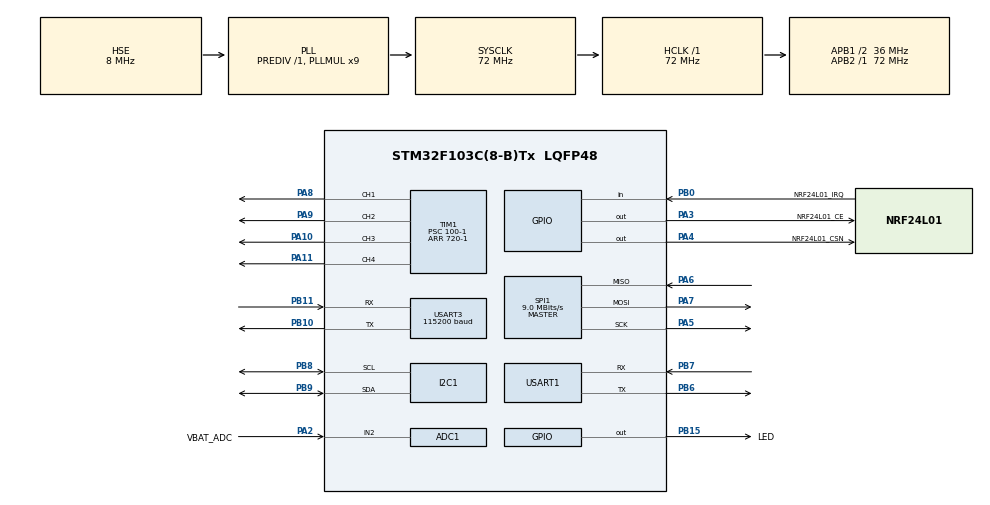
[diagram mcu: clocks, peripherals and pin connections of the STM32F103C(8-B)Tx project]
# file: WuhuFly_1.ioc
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ADC1.Channel-0\#ChannelRegularConversion=ADC_CHANNEL_2
ADC1.NbrOfConversionFlag=1
ADC1.Rank-0\#ChannelRegularConversion=1
ADC1.SamplingTime-0\#ChannelRegularConversion=ADC_SAMPLETIME_239CYCLES_5
ADC1.master=1
FREERTOS.HEAP_NUMBER=3
FREERTOS.Tasks01=MainTask,8,512,StartMainTask,Default,NULL,Dynamic,NULL,NULL;IMUTask,24,256,StartIMUTask,Default,NULL,Dynamic,NULL,NULL;CommunicateTask,24,256,StartCommunicateTask,Default,NULL,Dynamic,NULL,NULL
FREERTOS.configTOTAL_HEAP_SIZE=5120
Mcu.Family=STM32F1
Mcu.Name=STM32F103C(8-B)Tx
Mcu.Package=LQFP48
NVIC.PriorityGroup=NVIC_PRIORITYGROUP_4
NVIC.TIM4_IRQn=true\:0\:0\:false\:false\:true\:false\:false\:true
NVIC.TimeBase=TIM4_IRQn
NVIC.TimeBaseIP=TIM4
NVIC.USART3_IRQn=true\:5\:0\:false\:false\:true\:true\:true\:true
PA10.Signal=S_TIM1_CH3
PA11.Signal=S_TIM1_CH4
PA13.Mode=Serial_Wire
PA13.Signal=SYS_JTMS-SWDIO
PA14.Mode=Serial_Wire
PA14.Signal=SYS_JTCK-SWCLK
PA2.GPIO_Label=VBAT_ADC
PA2.Signal=ADCx_IN2
PA3.GPIO_Label=NRF24L01_CE
PA3.GPIO_PuPd=GPIO_PULLUP
PA3.GPIO_Speed=GPIO_SPEED_FREQ_HIGH
PA3.Signal=GPIO_Output
PA4.GPIO_Label=NRF24L01_CSN
PA4.GPIO_PuPd=GPIO_PULLUP
PA4.GPIO_Speed=GPIO_SPEED_FREQ_HIGH
PA4.PinState=GPIO_PIN_SET
PA4.Signal=GPIO_Output
PA5.Mode=Full_Duplex_Master
PA5.Signal=SPI1_SCK
PA6.Mode=Full_Duplex_Master
PA6.Signal=SPI1_MISO
PA7.Mode=Full_Duplex_Master
PA7.Signal=SPI1_MOSI
PA8.Signal=S_TIM1_CH1
PA9.Signal=S_TIM1_CH2
PB0.GPIO_Label=NRF24L01_IRQ
PB0.GPIO_PuPd=GPIO_PULLUP
PB0.Signal=GPIO_Input
PB10.Mode=Asynchronous
PB10.Signal=USART3_TX
PB11.Mode=Asynchronous
PB11.Signal=USART3_RX
PB15.GPIO_Label=LED
PB15.Signal=GPIO_Output
PB6.Mode=Asynchronous
PB6.Signal=USART1_TX
PB7.Mode=Asynchronous
PB7.Signal=USART1_RX
PB8.Mode=I2C
PB8.Signal=I2C1_SCL
PB9.Mode=I2C
PB9.Signal=I2C1_SDA
PD0-OSC_IN.Mode=HSE-External-Oscillator
PD0-OSC_IN.Signal=RCC_OSC_IN
PD1-OSC_OUT.Mode=HSE-External-Oscillator
PD1-OSC_OUT.Signal=RCC_OSC_OUT
ProjectManager.HeapSize=0x200
ProjectManager.StackSize=0x400
ProjectManager.TargetToolchain=SW4STM32
RCC.ADCPresc=RCC_ADCPCLK2_DIV6
RCC.AHBFreq_Value=72000000
RCC.APB1CLKDivider=RCC_HCLK_DIV2
RCC.APB1Freq_Value=36000000
RCC.APB1TimFreq_Value=72000000
RCC.APB2Freq_Value=72000000
RCC.APB2TimFreq_Value=72000000
RCC.HCLKFreq_Value=72000000
RCC.PLLMUL=RCC_PLL_MUL9
RCC.PLLSourceVirtual=RCC_PLLSOURCE_HSE
RCC.SYSCLKFreq_VALUE=72000000
RCC.SYSCLKSource=RCC_SYSCLKSOURCE_PLLCLK
RCC.USBFreq_Value=72000000
SH.ADCx_IN2.0=ADC1_IN2,IN2
SH.S_TIM1_CH1.0=TIM1_CH1,PWM Generation1 CH1
SH.S_TIM1_CH2.0=TIM1_CH2,PWM Generation2 CH2
SH.S_TIM1_CH3.0=TIM1_CH3,PWM Generation3 CH3
SH.S_TIM1_CH4.0=TIM1_CH4,PWM Generation4 CH4
SPI1.BaudRatePrescaler=SPI_BAUDRATEPRESCALER_8
SPI1.CLKPhase=SPI_PHASE_1EDGE
SPI1.CLKPolarity=SPI_POLARITY_LOW
SPI1.CalculateBaudRate=9.0 MBits/s
SPI1.Direction=SPI_DIRECTION_2LINES
SPI1.Mode=SPI_MODE_MASTER
SPI1.VirtualType=VM_MASTER
TIM1.Channel-PWM\ Generation1\ CH1=TIM_CHANNEL_1
TIM1.Channel-PWM\ Generation2\ CH2=TIM_CHANNEL_2
TIM1.Channel-PWM\ Generation3\ CH3=TIM_CHANNEL_3
TIM1.Channel-PWM\ Generation4\ CH4=TIM_CHANNEL_4
TIM1.Period=720-1
TIM1.Prescaler=100-1
TIM1.Pulse-PWM\ Generation1\ CH1=0
TIM1.Pulse-PWM\ Generation2\ CH2=0
TIM1.Pulse-PWM\ Generation3\ CH3=0
TIM1.Pulse-PWM\ Generation4\ CH4=0
USART1.VirtualMode=VM_ASYNC
USART3.BaudRate=115200
USART3.VirtualMode=VM_ASYNC
VP_FREERTOS_VS_CMSIS_V2.Mode=CMSIS_V2
VP_SYS_VS_tim4.Mode=TIM4
VP_TIM1_VS_ClockSourceINT.Mode=Internal
board=custom

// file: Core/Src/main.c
/* USER CODE BEGIN Header */
/**
  ******************************************************************************
  * @file           : main.c
  * @brief          : Main program body
  ******************************************************************************
  * @attention
  *
  * <h2><center>&copy; Copyright (c) 2020 STMicroelectronics.
  * All rights reserved.</center></h2>
  *
  * This software component is licensed by ST under Ultimate Liberty license
  * SLA0044, the "License"; You may not use this file except in compliance with
  * the License. You may obtain a copy of the License at:
  *                             www.st.com/SLA0044
  *
  ******************************************************************************
  */
/* USER CODE END Header */
#include "main.h"
#include "cmsis_os.h"
#include "adc.h"
#include "i2c.h"
#include "spi.h"
#include "tim.h"
#include "usart.h"
#include "gpio.h"

void SystemClock_Config(void);
void MX_FREERTOS_Init(void);

int main(void)
{

  /* MCU Configuration--------------------------------------------------------*/

  /* Reset of all peripherals, Initializes the Flash interface and the Systick. */
  HAL_Init();

  /* Configure the system clock */
  SystemClock_Config();

  /* Initialize all configured peripherals */
  MX_GPIO_Init();
  MX_I2C1_Init();
  MX_USART1_UART_Init();
  MX_SPI1_Init();
  MX_USART3_UART_Init();
  MX_ADC1_Init();
  MX_TIM1_Init();
  /* USER CODE BEGIN 2 */
    HAL_Delay(5000);
  /* USER CODE END 2 */

  /* Init scheduler */
  osKernelInitialize();  /* Call init function for freertos objects (in freertos.c) */
  MX_FREERTOS_Init();
  /* Start scheduler */
  osKernelStart();

  /* We should never get here as control is now taken by the scheduler */
  /* Infinite loop */
  while (1)
  {

  }
}

void SystemClock_Config(void)
{
  RCC_OscInitTypeDef RCC_OscInitStruct = {0};
  RCC_ClkInitTypeDef RCC_ClkInitStruct = {0};
  RCC_PeriphCLKInitTypeDef PeriphClkInit = {0};

  /** Initializes the RCC Oscillators according to the specified parameters
  * in the RCC_OscInitTypeDef structure.
  */
  RCC_OscInitStruct.OscillatorType = RCC_OSCILLATORTYPE_HSE;
  RCC_OscInitStruct.HSEState = RCC_HSE_ON;
  RCC_OscInitStruct.HSEPredivValue = RCC_HSE_PREDIV_DIV1;
  RCC_OscInitStruct.HSIState = RCC_HSI_ON;
  RCC_OscInitStruct.PLL.PLLState = RCC_PLL_ON;
  RCC_OscInitStruct.PLL.PLLSource = RCC_PLLSOURCE_HSE;
  RCC_OscInitStruct.PLL.PLLMUL = RCC_PLL_MUL9;
  if (HAL_RCC_OscConfig(&RCC_OscInitStruct) != HAL_OK)
  {
    Error_Handler();
  }
  /** Initializes the CPU, AHB and APB buses clocks
  */
  RCC_ClkInitStruct.ClockType = RCC_CLOCKTYPE_HCLK|RCC_CLOCKTYPE_SYSCLK
                              |RCC_CLOCKTYPE_PCLK1|RCC_CLOCKTYPE_PCLK2;
  RCC_ClkInitStruct.SYSCLKSource = RCC_SYSCLKSOURCE_PLLCLK;
  RCC_ClkInitStruct.AHBCLKDivider = RCC_SYSCLK_DIV1;
  RCC_ClkInitStruct.APB1CLKDivider = RCC_HCLK_DIV2;
  RCC_ClkInitStruct.APB2CLKDivider = RCC_HCLK_DIV1;

  if (HAL_RCC_ClockConfig(&RCC_ClkInitStruct, FLASH_LATENCY_2) != HAL_OK)
  {
    Error_Handler();
  }
  PeriphClkInit.PeriphClockSelection = RCC_PERIPHCLK_ADC;
  PeriphClkInit.AdcClockSelection = RCC_ADCPCLK2_DIV6;
  if (HAL_RCCEx_PeriphCLKConfig(&PeriphClkInit) != HAL_OK)
  {
    Error_Handler();
  }
}

 /**
  * @brief  Period elapsed callback in non blocking mode
  * @note   This function is called  when TIM4 interrupt took place, inside
  * HAL_TIM_IRQHandler(). It makes a direct call to HAL_IncTick() to increment
  * a global variable "uwTick" used as application time base.
  * @param  htim : TIM handle
  * @retval None
  */
void HAL_TIM_PeriodElapsedCallback(TIM_HandleTypeDef *htim)
{
  if (htim->Instance == TIM4) {
    HAL_IncTick();
  }
}

void Error_Handler(void)
{
  __disable_irq();
  while (1)
  {
  }
}

/************************ (C) COPYRIGHT STMicroelectronics *****END OF FILE****/

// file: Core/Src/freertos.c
/* USER CODE BEGIN Header */
/**
  ******************************************************************************
  * File Name          : freertos.c
  * Description        : Code for freertos applications
  ******************************************************************************
  * @attention
  *
  * <h2><center>&copy; Copyright (c) 2020 STMicroelectronics.
  * All rights reserved.</center></h2>
  *
  * This software component is licensed by ST under Ultimate Liberty license
  * SLA0044, the "License"; You may not use this file except in compliance with
  * the License. You may obtain a copy of the License at:
  *                             www.st.com/SLA0044
  *
  ******************************************************************************
  */
/* USER CODE END Header */

#include "FreeRTOS.h"
#include "task.h"
#include "main.h"
#include "cmsis_os.h"

/* USER CODE BEGIN Includes */
#include <stdio.h>
#include "JY901.h"
#include "NRF24L01.h"
#include "usart.h"
#include "string.h"
#include "tim.h"
#include "structconfig.h"
#include "control.h"
#include "pid.h"
#include "adc.h"
/* USER CODE END Includes */

/* Definitions for MainTask */
osThreadId_t MainTaskHandle;
const osThreadAttr_t MainTask_attributes = {
  .name = "MainTask",
  .priority = (osPriority_t) osPriorityLow,
  .stack_size = 512 * 4
};
/* Definitions for IMUTask */
osThreadId_t IMUTaskHandle;
const osThreadAttr_t IMUTask_attributes = {
  .name = "IMUTask",
  .priority = (osPriority_t) osPriorityNormal,
  .stack_size = 256 * 4
};
/* Definitions for CommunicateTask */
osThreadId_t CommunicateTaskHandle;
const osThreadAttr_t CommunicateTask_attributes = {
  .name = "CommunicateTask",
  .priority = (osPriority_t) osPriorityNormal,
  .stack_size = 256 * 4
};

void StartMainTask(void *argument);
void StartIMUTask(void *argument);
void StartCommunicateTask(void *argument);

void MX_FREERTOS_Init(void); /* (MISRA C 2004 rule 8.1) */

void MX_FREERTOS_Init(void) {

  /* Create the thread(s) */
  /* creation of MainTask */
  MainTaskHandle = osThreadNew(StartMainTask, NULL, &MainTask_attributes);

  /* creation of IMUTask */
  IMUTaskHandle = osThreadNew(StartIMUTask, NULL, &IMUTask_attributes);

  /* creation of CommunicateTask */
  CommunicateTaskHandle = osThreadNew(StartCommunicateTask, NULL, &CommunicateTask_attributes);

}

void StartMainTask(void *argument)
{
  /* USER CODE BEGIN StartMainTask */
    PidParameter_init(); //PID参数初始化
//    HAL_TIM_PWM_Start(&htim1, TIM_CHANNEL_1);
//    HAL_TIM_PWM_Start(&htim1, TIM_CHANNEL_2);
//    HAL_TIM_PWM_Start(&htim1, TIM_CHANNEL_3);
//    HAL_TIM_PWM_Start(&htim1, TIM_CHANNEL_4);
    uint32_t tick = 0;

    /* Infinite loop */
    for(;;)
    {
        Att_Angle.rol = JY901_getRoll();//姿态角
        Att_Angle.pit = JY901_getPitch();
        Att_Angle.yaw = JY901_getYaw();
        Gyr_rad.X = JY901_getGyroX();//角速度
        Gyr_rad.Y = JY901_getGyroY();
        Gyr_rad.Z = JY901_getGyroZ();
        Control(&Att_Angle,&Gyr_rad,&RC_Control); //姿态控制

        if (osKernelGetTickCount() > tick + 1000){
            HAL_ADC_Start(&hadc1);
            if(HAL_ADC_PollForConversion(&hadc1, 10) == HAL_OK){
                printf("VBat = %.2fV\r\n", HAL_ADC_GetValue(&hadc1) * 2 * 3.3 / 4095.0);
            }
            printf("PWM1:%d ", (int)Moto_PWM_1);
            printf("PWM2:%d ", (int)Moto_PWM_2);
            printf("PWM3:%d ", (int)Moto_PWM_3);
            printf("PWM4:%d \r\n", (int)Moto_PWM_4);
            tick = osKernelGetTickCount();
//          printf("-----------Sensor JY901S-----------\r\n");
//
//          printf("AX:%.3f AY:%.3f AZ:%.3f\r\n",JY901_getAccX(),JY901_getAccY(),JY901_getAccZ());
//          printf("WX:%.3f WY:%.3f WZ:%.3f\r\n",Gyr_rad.X,Gyr_rad.Y,Gyr_rad.Z);
//          printf("Roll:%.3f Pitch:%.3f Yaw:%.3f\r\n",Att_Angle.rol,Att_Angle.pit,Att_Angle.yaw);
        }
//      printf("-----------Sensor JY901S-----------\r\n");
//
//      printf("AX:%.3f AY:%.3f AZ:%.3f\r\n",JY901_getAccX(),JY901_getAccY(),JY901_getAccZ());
//      printf("WX:%.3f WY:%.3f WZ:%.3f\r\n",Gyr_rad.X,Gyr_rad.Y,Gyr_rad.Z);
//      printf("Roll:%.3f Pitch:%.3f Yaw:%.3f\r\n",Att_Angle.rol,Att_Angle.pit,Att_Angle.yaw);

        osDelay(10);
    }
  /* USER CODE END StartMainTask */
}

void StartIMUTask(void *argument)
{
  /* USER CODE BEGIN StartIMUTask */
    uint8_t rx3_data = 0;
    HAL_UART_Receive_IT(&huart3, &rx3_data, 1);
    /* Infinite loop */
    for(;;)
    {
        if (JY901_recv_flag == true){
//            HAL_GPIO_TogglePin(LED_GPIO_Port, LED_Pin);
            JY901_recv_flag = false;
            if (JY901_readSerialData(rx3_data) == true){
                osDelay(10);
            }
            HAL_UART_Receive_IT(&huart3, &rx3_data, 1);
        }
    }
  /* USER CODE END StartIMUTask */
}

void StartCommunicateTask(void *argument)
{
  /* USER CODE BEGIN StartCommunicateTask */
    //配置NRF24L01
    uint8_t rx_buf[32] = {0};

    while(NRF24L01_Check()){
        printf("NRF24L01 Check Error\r\n");
    }
    printf("NRF24L01 Check Success\r\n");
    NRF24L01_RX_Mode();

    //配置飞行参数
//    RC_Control.YAW      = 1500;
    RC_Control.THROTTLE = 200;
    RC_Control.ROLL     = 1500;
    RC_Control.PITCH    = 1500;
    /* Infinite loop */
    for(;;)
    {
        if(NRF24L01_RxPacket(rx_buf) == 0){
            HAL_GPIO_TogglePin(LED_GPIO_Port, LED_Pin);
            if(rx_buf[0] == 2){
                //降落
//                RC_Control.THROTTLE = 0;
                HAL_TIM_PWM_Stop(&htim1, TIM_CHANNEL_1);
                HAL_TIM_PWM_Stop(&htim1, TIM_CHANNEL_2);
                HAL_TIM_PWM_Stop(&htim1, TIM_CHANNEL_3);
                HAL_TIM_PWM_Stop(&htim1, TIM_CHANNEL_4);
                printf("DOWN\r\n");
            }
            else if(rx_buf[0] == 1){
                HAL_TIM_PWM_Start(&htim1, TIM_CHANNEL_1);
                HAL_TIM_PWM_Start(&htim1, TIM_CHANNEL_2);
                HAL_TIM_PWM_Start(&htim1, TIM_CHANNEL_3);
                HAL_TIM_PWM_Start(&htim1, TIM_CHANNEL_4);
                printf("UP\r\n");
//                osDelay(5000);
//                HAL_TIM_PWM_Stop(&htim1, TIM_CHANNEL_1);
//                HAL_TIM_PWM_Stop(&htim1, TIM_CHANNEL_2);
//                HAL_TIM_PWM_Stop(&htim1, TIM_CHANNEL_3);
//                HAL_TIM_PWM_Stop(&htim1, TIM_CHANNEL_4);
            }
        }
        osDelay(50);
    }
  /* USER CODE END StartCommunicateTask */
}

/************************ (C) COPYRIGHT STMicroelectronics *****END OF FILE****/
